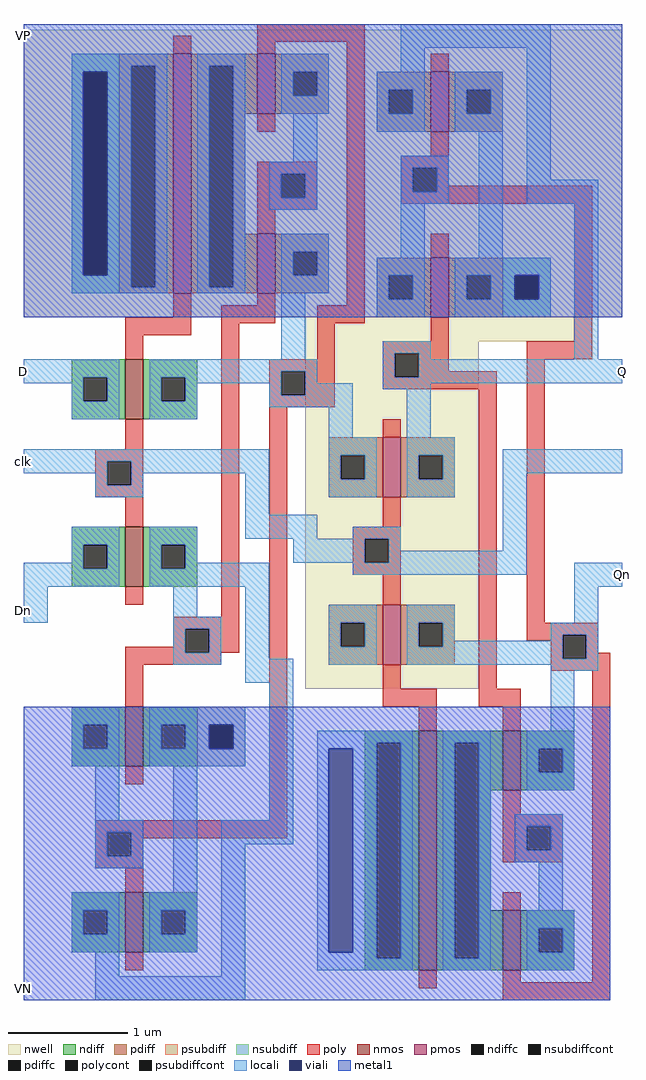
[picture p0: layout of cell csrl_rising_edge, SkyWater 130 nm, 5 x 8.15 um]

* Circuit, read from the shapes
.subckt csrl_rising_edge VP D clk Dn VN Qn Q
XM1 VN n1 n2 VN sky130_fd_pr__nfet_01v8 w=0.5 l=0.15
XM2 VN n2 n1 VN sky130_fd_pr__nfet_01v8 w=0.5 l=0.15
XM3 n2 clk Dn VN sky130_fd_pr__nfet_01v8 w=0.5 l=0.15
XM4 n1 clk D VN sky130_fd_pr__nfet_01v8 w=0.5 l=0.15
XM5 n3 clk VN VN sky130_fd_pr__nfet_01v8 w=2 l=0.15
XM6 Q Qn n3 VN sky130_fd_pr__nfet_01v8 w=0.5 l=0.15
XM7 Qn Q n3 VN sky130_fd_pr__nfet_01v8 w=0.5 l=0.15
XM8 n4 clk VP VP sky130_fd_pr__pfet_01v8 w=2 l=0.15
XM9 n1 n2 n4 VP sky130_fd_pr__pfet_01v8 w=0.5 l=0.15
XM10 n2 n1 n4 VP sky130_fd_pr__pfet_01v8 w=0.5 l=0.15
XM11 Qn clk n5 VP sky130_fd_pr__pfet_01v8 w=0.5 l=0.15
XM12 Q clk n1 VP sky130_fd_pr__pfet_01v8 w=0.5 l=0.15
XM13 VP Q Qn VP sky130_fd_pr__pfet_01v8 w=0.5 l=0.15
XM14 VP Qn Q VP sky130_fd_pr__pfet_01v8 w=0.5 l=0.15
.ends

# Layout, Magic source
magic
tech sky130A
<< nwell >>
rect 70 490 570 730
rect 305 470 530 490
rect 305 180 450 470
<< nmos >>
rect 155 405 170 455
rect 155 265 170 315
rect 155 115 170 165
rect 155 -40 170 10
rect 400 -55 415 145
rect 470 95 485 145
rect 470 -55 485 -5
<< pmos >>
rect 195 510 210 710
rect 265 660 280 710
rect 265 510 280 560
rect 410 645 425 695
rect 410 490 425 540
rect 370 340 385 390
rect 370 200 385 250
<< ndiff >>
rect 110 440 155 455
rect 110 420 120 440
rect 140 420 155 440
rect 110 405 155 420
rect 170 440 215 455
rect 170 420 185 440
rect 205 420 215 440
rect 170 405 215 420
rect 110 300 155 315
rect 110 280 120 300
rect 140 280 155 300
rect 110 265 155 280
rect 170 300 215 315
rect 170 280 185 300
rect 205 280 215 300
rect 170 265 215 280
rect 110 150 155 165
rect 110 130 120 150
rect 140 130 155 150
rect 110 115 155 130
rect 170 150 215 165
rect 170 130 185 150
rect 205 130 215 150
rect 170 115 215 130
rect 355 135 400 145
rect 110 -5 155 10
rect 110 -25 120 -5
rect 140 -25 155 -5
rect 110 -40 155 -25
rect 170 -5 215 10
rect 170 -25 185 -5
rect 205 -25 215 -5
rect 170 -40 215 -25
rect 355 -45 365 135
rect 385 -45 400 135
rect 355 -55 400 -45
rect 415 135 470 145
rect 415 -45 430 135
rect 450 95 470 135
rect 485 130 530 145
rect 485 110 500 130
rect 520 110 530 130
rect 485 95 530 110
rect 450 -5 460 95
rect 450 -45 470 -5
rect 415 -55 470 -45
rect 485 -20 530 -5
rect 485 -40 500 -20
rect 520 -40 530 -20
rect 485 -55 530 -40
<< pdiff >>
rect 150 700 195 710
rect 150 515 160 700
rect 180 515 195 700
rect 150 510 195 515
rect 210 700 265 710
rect 210 515 225 700
rect 245 660 265 700
rect 280 695 325 710
rect 280 675 295 695
rect 315 675 325 695
rect 280 660 325 675
rect 245 560 255 660
rect 245 515 265 560
rect 210 510 265 515
rect 280 545 325 560
rect 280 525 295 545
rect 315 525 325 545
rect 280 510 325 525
rect 365 680 410 695
rect 365 660 375 680
rect 395 660 410 680
rect 365 645 410 660
rect 425 680 470 695
rect 425 660 440 680
rect 460 660 470 680
rect 425 645 470 660
rect 365 525 410 540
rect 365 505 375 525
rect 395 505 410 525
rect 365 490 410 505
rect 425 525 470 540
rect 425 505 440 525
rect 460 505 470 525
rect 425 490 470 505
rect 325 375 370 390
rect 325 355 335 375
rect 355 355 370 375
rect 325 340 370 355
rect 385 375 430 390
rect 385 355 400 375
rect 420 355 430 375
rect 385 340 430 355
rect 325 235 370 250
rect 325 215 335 235
rect 355 215 370 235
rect 325 200 370 215
rect 385 235 430 250
rect 385 215 400 235
rect 420 215 430 235
rect 385 200 430 215
<< ndiffc >>
rect 120 420 140 440
rect 185 420 205 440
rect 120 280 140 300
rect 185 280 205 300
rect 120 130 140 150
rect 185 130 205 150
rect 120 -25 140 -5
rect 185 -25 205 -5
rect 365 -45 385 135
rect 430 -45 450 135
rect 500 110 520 130
rect 500 -40 520 -20
<< pdiffc >>
rect 160 515 180 700
rect 225 515 245 700
rect 295 675 315 695
rect 295 525 315 545
rect 375 660 395 680
rect 440 660 460 680
rect 375 505 395 525
rect 440 505 460 525
rect 335 355 355 375
rect 400 355 420 375
rect 335 215 355 235
rect 400 215 420 235
<< psubdiff >>
rect 215 150 255 165
rect 215 130 225 150
rect 245 130 255 150
rect 215 115 255 130
<< nsubdiff >>
rect 110 695 150 710
rect 110 525 120 695
rect 140 525 150 695
rect 110 510 150 525
rect 470 525 510 540
rect 470 505 480 525
rect 500 505 510 525
rect 470 490 510 505
<< psubdiffcont >>
rect 225 130 245 150
<< nsubdiffcont >>
rect 120 525 140 695
rect 480 505 500 525
<< poly >>
rect 195 710 210 725
rect 265 720 355 735
rect 265 710 280 720
rect 265 645 280 660
rect 265 610 315 620
rect 265 590 285 610
rect 305 590 315 610
rect 265 580 315 590
rect 265 560 280 580
rect 195 490 210 510
rect 265 500 280 510
rect 340 500 355 720
rect 410 695 425 710
rect 410 625 425 645
rect 385 615 425 625
rect 385 595 395 615
rect 415 600 425 615
rect 415 595 545 600
rect 385 585 545 595
rect 410 540 425 560
rect 155 475 210 490
rect 235 485 280 500
rect 315 485 355 500
rect 155 455 170 475
rect 155 380 170 405
rect 130 370 170 380
rect 130 350 140 370
rect 160 350 170 370
rect 130 340 170 350
rect 155 315 170 340
rect 155 250 170 265
rect 235 240 250 485
rect 315 455 330 485
rect 410 470 425 490
rect 530 470 545 585
rect 195 230 250 240
rect 195 215 205 230
rect 155 210 205 215
rect 225 210 250 230
rect 275 445 330 455
rect 275 425 285 445
rect 305 425 330 445
rect 370 460 425 470
rect 370 440 380 460
rect 400 445 425 460
rect 490 455 545 470
rect 400 440 465 445
rect 370 430 465 440
rect 275 415 330 425
rect 155 200 235 210
rect 155 165 170 200
rect 155 100 170 115
rect 275 70 290 415
rect 370 390 385 405
rect 370 315 385 340
rect 345 305 385 315
rect 345 285 355 305
rect 375 285 385 305
rect 345 275 385 285
rect 370 250 385 275
rect 370 180 385 200
rect 450 180 465 430
rect 490 235 505 455
rect 490 225 550 235
rect 490 220 520 225
rect 510 205 520 220
rect 540 210 550 225
rect 540 205 560 210
rect 510 195 560 205
rect 370 165 415 180
rect 450 165 485 180
rect 400 145 415 165
rect 470 145 485 165
rect 130 60 290 70
rect 130 40 140 60
rect 160 55 290 60
rect 160 40 170 55
rect 130 30 170 40
rect 155 10 170 30
rect 155 -55 170 -40
rect 470 75 485 95
rect 470 65 520 75
rect 470 45 490 65
rect 510 45 520 65
rect 470 35 520 45
rect 470 -5 485 10
rect 400 -70 415 -55
rect 470 -65 485 -55
rect 545 -65 560 195
rect 470 -80 560 -65
<< polycont >>
rect 285 590 305 610
rect 395 595 415 615
rect 140 350 160 370
rect 205 210 225 230
rect 285 425 305 445
rect 380 440 400 460
rect 355 285 375 305
rect 520 205 540 225
rect 140 40 160 60
rect 490 45 510 65
<< locali >>
rect 385 715 510 735
rect 110 700 190 710
rect 110 695 160 700
rect 110 525 120 695
rect 140 525 160 695
rect 110 515 160 525
rect 180 515 190 700
rect 110 510 190 515
rect 215 700 255 710
rect 215 515 225 700
rect 245 515 255 700
rect 285 695 325 710
rect 385 695 405 715
rect 285 675 295 695
rect 315 675 325 695
rect 285 660 325 675
rect 365 680 405 695
rect 365 660 375 680
rect 395 660 405 680
rect 295 620 315 660
rect 365 645 405 660
rect 430 680 470 695
rect 430 660 440 680
rect 460 660 470 680
rect 430 645 470 660
rect 275 610 315 620
rect 275 590 285 610
rect 305 590 315 610
rect 275 580 315 590
rect 385 615 425 625
rect 385 595 395 615
rect 415 595 425 615
rect 385 585 425 595
rect 215 510 255 515
rect 285 545 325 560
rect 285 525 295 545
rect 315 525 325 545
rect 385 540 405 585
rect 450 540 470 645
rect 490 605 510 715
rect 490 585 550 605
rect 285 510 325 525
rect 365 525 405 540
rect 285 455 305 510
rect 365 505 375 525
rect 395 505 405 525
rect 365 490 405 505
rect 430 525 510 540
rect 430 505 440 525
rect 460 505 480 525
rect 500 505 510 525
rect 430 490 510 505
rect 370 460 410 470
rect 70 440 150 455
rect 70 435 120 440
rect 110 420 120 435
rect 140 420 150 440
rect 110 405 150 420
rect 175 445 315 455
rect 175 440 285 445
rect 175 420 185 440
rect 205 435 285 440
rect 205 420 215 435
rect 175 405 215 420
rect 275 425 285 435
rect 305 435 315 445
rect 370 440 380 460
rect 400 455 410 460
rect 530 455 550 585
rect 400 440 570 455
rect 370 435 570 440
rect 305 425 345 435
rect 370 430 410 435
rect 275 415 345 425
rect 325 390 345 415
rect 390 390 410 430
rect 70 370 275 380
rect 70 360 140 370
rect 130 350 140 360
rect 160 360 275 370
rect 160 350 170 360
rect 130 340 170 350
rect 255 325 275 360
rect 325 375 365 390
rect 325 355 335 375
rect 355 355 365 375
rect 325 340 365 355
rect 390 375 430 390
rect 390 355 400 375
rect 420 355 430 375
rect 390 340 430 355
rect 470 360 570 380
rect 110 300 150 315
rect 110 285 120 300
rect 70 280 120 285
rect 140 280 150 300
rect 70 265 150 280
rect 175 300 215 315
rect 255 305 315 325
rect 345 305 385 315
rect 175 280 185 300
rect 205 285 215 300
rect 295 285 355 305
rect 375 295 385 305
rect 470 295 490 360
rect 375 285 490 295
rect 205 280 275 285
rect 175 265 275 280
rect 345 275 490 285
rect 70 235 90 265
rect 195 240 215 265
rect 195 230 235 240
rect 195 210 205 230
rect 225 210 235 230
rect 195 200 235 210
rect 255 205 275 265
rect 530 265 570 285
rect 325 235 365 250
rect 325 215 335 235
rect 355 215 365 235
rect 255 185 295 205
rect 325 200 365 215
rect 390 235 430 250
rect 530 235 550 265
rect 390 215 400 235
rect 420 220 430 235
rect 510 225 550 235
rect 510 220 520 225
rect 420 215 520 220
rect 390 205 520 215
rect 540 205 550 225
rect 390 200 550 205
rect 110 150 150 165
rect 110 130 120 150
rect 140 130 150 150
rect 110 115 150 130
rect 175 150 255 165
rect 175 130 185 150
rect 205 130 225 150
rect 245 130 255 150
rect 175 115 255 130
rect 130 70 150 115
rect 130 60 170 70
rect 130 40 140 60
rect 160 40 170 60
rect 130 30 170 40
rect 195 10 215 115
rect 275 70 295 185
rect 510 195 550 200
rect 510 145 530 195
rect 110 -5 150 10
rect 110 -25 120 -5
rect 140 -25 150 -5
rect 110 -40 150 -25
rect 175 -5 215 10
rect 175 -25 185 -5
rect 205 -25 215 -5
rect 175 -40 215 -25
rect 235 50 295 70
rect 315 135 395 145
rect 315 130 365 135
rect 130 -60 150 -40
rect 235 -60 255 50
rect 315 -40 325 130
rect 345 -40 365 130
rect 315 -45 365 -40
rect 385 -45 395 135
rect 315 -55 395 -45
rect 420 135 460 145
rect 420 -45 430 135
rect 450 -45 460 135
rect 490 130 530 145
rect 490 110 500 130
rect 520 110 530 130
rect 490 95 530 110
rect 480 65 520 75
rect 480 45 490 65
rect 510 45 520 65
rect 480 35 520 45
rect 500 -5 520 35
rect 420 -55 460 -45
rect 490 -20 530 -5
rect 490 -40 500 -20
rect 520 -40 530 -20
rect 490 -55 530 -40
rect 130 -80 255 -60
<< viali >>
rect 120 525 140 695
rect 480 505 500 525
rect 225 130 245 150
rect 325 -40 345 130
<< metal1 >>
rect 70 695 570 735
rect 70 525 120 695
rect 140 525 570 695
rect 70 505 480 525
rect 500 505 570 525
rect 70 490 570 505
rect 70 150 560 165
rect 70 130 225 150
rect 245 130 560 150
rect 70 -40 325 130
rect 345 -40 560 130
rect 70 -80 560 -40
<< labels >>
rlabel metal1 70 715 70 735 7 VP
port 1 w
rlabel locali 70 435 70 455 7 D
port 2 w
rlabel locali 70 360 70 380 7 clk
port 3 w
rlabel locali 70 235 70 255 7 Dn
port 4 w
rlabel metal1 70 -80 70 -60 7 VN
port 5 w
rlabel locali 570 265 570 285 3 Qn
port 6 e
rlabel locali 570 435 570 455 3 Q
port 7 e
<< end >>
